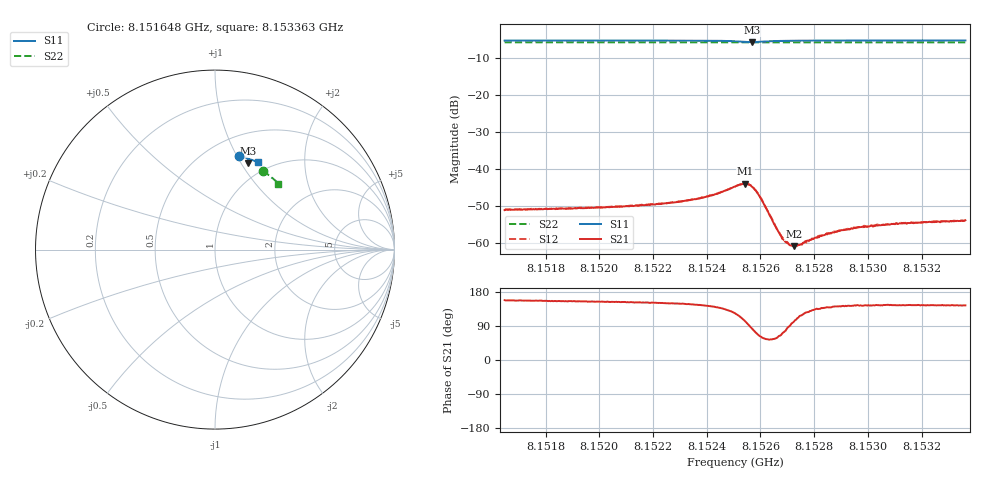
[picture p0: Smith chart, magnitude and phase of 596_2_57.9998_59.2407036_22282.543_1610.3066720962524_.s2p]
#  HZ  S  RI  R  50.00
! Rohde & Schwarz Vector Network Analyzer
! Rohde-Schwarz,ZNB20-2Port,1311601062101988,3.16
! Created: UTC 3/21/2024, 1:17:02 AM
! freq[Hz]  re:S11  im:S11  re:S21  im:S21  re:S12  im:S12  re:S22  im:S22
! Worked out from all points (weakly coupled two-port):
!   401 points, 8.151648 GHz to 8.153363 GHz, reference 50 ohm
!   highest |S21| = -44.04 dB at 8.152544 GHz (marker M1); lowest = -60.9 dB at 8.152724 GHz (marker M2)
!   lowest |S11| = -5.8 dB at 8.15257 GHz (marker M3), VSWR 3.13, Z = 40.9 + j53.6 ohm
!   |S11| at or under -10 dB: nowhere
!   |S22| runs from -5.8 to -5.8 dB; largest |S21 - S12| = 0.00012
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8.1516477e9  0.1339 0.5233  -0.00257 0.00104  -0.00262 0.00114  0.2683 0.4364
8.151935e9  0.1541 0.5181  -0.00267 0.00127  -0.00269 0.0013  0.2835 0.4261
8.1522224e9  0.1747 0.5115  -0.00292 0.00164  -0.00294 0.00172  0.2984 0.4154
8.1523682e9  0.1866 0.5059  -0.00326 0.00226  -0.00323 0.0023  0.306 0.4097
8.1524326e9  0.1925 0.5016  -0.00348 0.00295  -0.0035 0.00304  0.3091 0.4071
8.1525055e9  0.1977 0.4906  -0.00316 0.00481  -0.00312 0.00489  0.3126 0.4037
8.1525441e9  0.1923 0.4817  -0.00128 0.00615  -0.00123 0.00624  0.3141 0.402
8.1525698e9  0.1838 0.4814  0.000829 0.00566  0.000872 0.00572  0.3152 0.4013
8.1525827e9  0.1802 0.4844  0.00155 0.00487  0.00164 0.00487  0.3157 0.4009
8.1525998e9  0.1784 0.4896  0.0019 0.00361  0.00198 0.00366  0.3164 0.4005
8.1526642e9  0.1859 0.5003  0.00074 0.00128  0.000794 0.00126  0.3199 0.3984
8.1526813e9  0.1883 0.5013  0.000385 0.00107  0.00047 0.00111  0.3209 0.3976
8.1527028e9  0.1913 0.5017  6.4e-05 0.000986  0.000114 0.000991  0.3218 0.3966
8.1527242e9  0.1938 0.5019  -0.000168 0.000889  -0.000153 0.000905  0.323 0.3957
8.1527456e9  0.1962 0.5018  -0.000411 0.000843  -0.00037 0.000863  0.3241 0.3948
8.1527928e9  0.2011 0.501  -0.000745 0.000843  -0.000729 0.000892  0.3264 0.3929
8.1528486e9  0.2059 0.4997  -0.00099 0.000849  -0.00101 0.000913  0.3291 0.3904
8.1528958e9  0.2095 0.4986  -0.00115 0.0009  -0.00112 0.000947  0.3314 0.3886
8.152973e9  0.2154 0.4966  -0.00133 0.000957  -0.00131 0.000967  0.3351 0.3853
8.1530802e9  0.223 0.4937  -0.00144 0.00102  -0.00144 0.00104  0.3402 0.3808
8.1532475e9  0.2343 0.4891  -0.00155 0.00111  -0.00159 0.00115  0.348 0.3732
8.1533633e9  0.2418 0.4855  -0.00164 0.00119  -0.00162 0.00116  0.3531 0.3682
